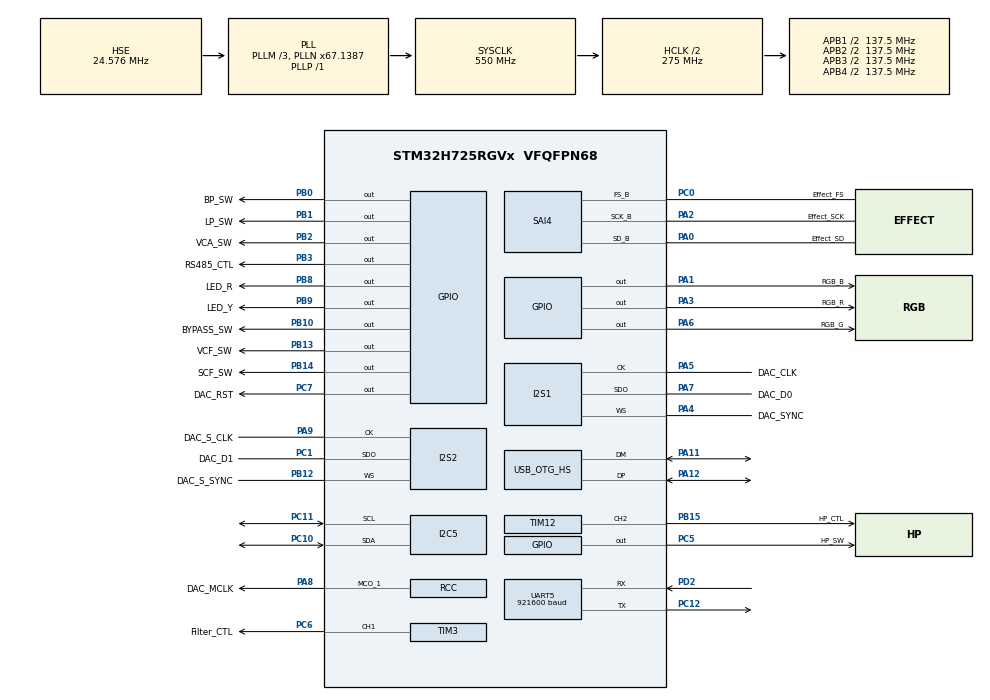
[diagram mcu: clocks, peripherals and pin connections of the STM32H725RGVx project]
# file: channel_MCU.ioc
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CORTEX_M7.default_mode_Activation=1
Dma.Request0=SPI1_TX
Dma.Request1=SPI2_TX
Dma.SPI1_TX.0.Direction=DMA_MEMORY_TO_PERIPH
Dma.SPI1_TX.0.EventEnable=DISABLE
Dma.SPI1_TX.0.FIFOMode=DMA_FIFOMODE_DISABLE
Dma.SPI1_TX.0.Instance=DMA1_Stream0
Dma.SPI1_TX.0.MemDataAlignment=DMA_MDATAALIGN_WORD
Dma.SPI1_TX.0.MemInc=DMA_MINC_ENABLE
Dma.SPI1_TX.0.Mode=DMA_CIRCULAR
Dma.SPI1_TX.0.PeriphDataAlignment=DMA_PDATAALIGN_WORD
Dma.SPI1_TX.0.PeriphInc=DMA_PINC_DISABLE
Dma.SPI1_TX.0.Polarity=HAL_DMAMUX_REQ_GEN_RISING
Dma.SPI1_TX.0.Priority=DMA_PRIORITY_LOW
Dma.SPI1_TX.0.RequestNumber=1
Dma.SPI1_TX.0.SignalID=NONE
Dma.SPI1_TX.0.SyncEnable=DISABLE
Dma.SPI1_TX.0.SyncPolarity=HAL_DMAMUX_SYNC_NO_EVENT
Dma.SPI1_TX.0.SyncRequestNumber=1
Dma.SPI1_TX.0.SyncSignalID=NONE
Dma.SPI2_TX.1.Direction=DMA_MEMORY_TO_PERIPH
Dma.SPI2_TX.1.EventEnable=DISABLE
Dma.SPI2_TX.1.FIFOMode=DMA_FIFOMODE_DISABLE
Dma.SPI2_TX.1.Instance=DMA1_Stream1
Dma.SPI2_TX.1.MemDataAlignment=DMA_MDATAALIGN_WORD
Dma.SPI2_TX.1.MemInc=DMA_MINC_ENABLE
Dma.SPI2_TX.1.Mode=DMA_CIRCULAR
Dma.SPI2_TX.1.PeriphDataAlignment=DMA_PDATAALIGN_WORD
Dma.SPI2_TX.1.PeriphInc=DMA_PINC_DISABLE
Dma.SPI2_TX.1.Polarity=HAL_DMAMUX_REQ_GEN_RISING
Dma.SPI2_TX.1.Priority=DMA_PRIORITY_LOW
Dma.SPI2_TX.1.RequestNumber=1
Dma.SPI2_TX.1.SignalID=NONE
Dma.SPI2_TX.1.SyncEnable=DISABLE
Dma.SPI2_TX.1.SyncPolarity=HAL_DMAMUX_SYNC_NO_EVENT
Dma.SPI2_TX.1.SyncRequestNumber=1
Dma.SPI2_TX.1.SyncSignalID=NONE
I2C5.Timing=0x60404E72
I2S1.AudioFreq=I2S_AUDIOFREQ_96K
I2S1.DataFormat=I2S_DATAFORMAT_32B
I2S1.ErrorAudioFreq=0.0 %
I2S1.Instance=SPI$Index
I2S1.RealAudioFreq=96.0 KHz
I2S2.AudioFreq=I2S_AUDIOFREQ_96K
I2S2.DataFormat=I2S_DATAFORMAT_32B
I2S2.ErrorAudioFreq=0.0 %
I2S2.Instance=SPI$Index
I2S2.RealAudioFreq=96.0 KHz
Mcu.Family=STM32H7
Mcu.Name=STM32H725RGVx
Mcu.Package=VFQFPN68
NVIC.DMA1_Stream0_IRQn=true\:0\:0\:false\:false\:true\:false\:true\:true
NVIC.DMA1_Stream1_IRQn=true\:0\:0\:false\:false\:true\:false\:true\:true
NVIC.OTG_HS_IRQn=true\:0\:0\:false\:false\:true\:true\:true\:true
NVIC.PriorityGroup=NVIC_PRIORITYGROUP_4
PA0.GPIO_Label=Effect_SD
PA0.Mode=SAI_B_AsyncSlave
PA0.Signal=SAI4_SD_B
PA1.GPIO_Label=RGB_B
PA1.Signal=GPIO_Output
PA11.Mode=Device_Only_FS
PA11.Signal=USB_OTG_HS_DM
PA12.Mode=Device_Only_FS
PA12.Signal=USB_OTG_HS_DP
PA2.GPIO_Label=Effect_SCK
PA2.Mode=SAI_B_AsyncSlave
PA2.Signal=SAI4_SCK_B
PA3.GPIO_Label=RGB_R
PA3.Signal=GPIO_Output
PA4.GPIO_Label=DAC_SYNC
PA4.GPIO_Speed=GPIO_SPEED_FREQ_HIGH
PA4.Mode=Half_Duplex_Master_Tx
PA4.Signal=I2S1_WS
PA5.GPIO_Label=DAC_CLK
PA5.GPIO_Speed=GPIO_SPEED_FREQ_HIGH
PA5.Mode=Half_Duplex_Master_Tx
PA5.Signal=I2S1_CK
PA6.GPIO_Label=RGB_G
PA6.Signal=GPIO_Output
PA7.GPIO_Label=DAC_D0
PA7.GPIO_Speed=GPIO_SPEED_FREQ_HIGH
PA7.Mode=Half_Duplex_Master_Tx
PA7.Signal=I2S1_SDO
PA8.GPIO_Label=DAC_MCLK
PA8.GPIO_Speed=GPIO_SPEED_FREQ_VERY_HIGH
PA8.Mode=Clock-out-1
PA8.Signal=RCC_MCO_1
PA9.GPIO_Label=DAC_S_CLK
PA9.Mode=Half_Duplex_Slave_Tx
PA9.Signal=I2S2_CK
PB0.GPIO_Label=BP_SW
PB0.Signal=GPIO_Output
PB1.GPIO_Label=LP_SW
PB1.Signal=GPIO_Output
PB10.GPIO_Label=BYPASS_SW
PB10.Signal=GPIO_Output
PB12.GPIO_Label=DAC_S_SYNC
PB12.Mode=Half_Duplex_Slave_Tx
PB12.Signal=I2S2_WS
PB13.GPIO_Label=VCF_SW
PB13.Signal=GPIO_Output
PB14.GPIO_Label=SCF_SW
PB14.Signal=GPIO_Output
PB15.GPIO_Label=HP_CTL
PB15.Signal=S_TIM12_CH2
PB2.GPIO_Label=VCA_SW
PB2.Signal=GPIO_Output
PB3(JTDO/TRACESWO).GPIO_Label=RS485_CTL
PB3(JTDO/TRACESWO).Signal=GPIO_Output
PB8.GPIO_Label=LED_R
PB8.Signal=GPIO_Output
PB9.GPIO_Label=LED_Y
PB9.Signal=GPIO_Output
PC0.GPIO_Label=Effect_FS
PC0.Mode=SAI_B_AsyncSlave
PC0.Signal=SAI4_FS_B
PC1.GPIO_Label=DAC_D1
PC1.GPIO_Speed=GPIO_SPEED_FREQ_HIGH
PC1.Mode=Half_Duplex_Slave_Tx
PC1.Signal=I2S2_SDO
PC10.Mode=I2C
PC10.Signal=I2C5_SDA
PC11.Mode=I2C
PC11.Signal=I2C5_SCL
PC12.Mode=Asynchronous
PC12.Signal=UART5_TX
PC5.GPIO_Label=HP_SW
PC5.Signal=GPIO_Output
PC6.GPIO_Label=Filter_CTL
PC6.Signal=S_TIM3_CH1
PC7.GPIO_Label=DAC_RST
PC7.Signal=GPIO_Output
PD2.Mode=Asynchronous
PD2.Signal=UART5_RX
PH0-OSC_IN.Mode=HSE-External-Clock-Source
PH0-OSC_IN.Signal=RCC_OSC_IN
ProjectManager.HeapSize=0x200
ProjectManager.StackSize=0x400
ProjectManager.TargetToolchain=CMake
RCC.ADCFreq_Value=49920000
RCC.APB1Freq_Value=137500000
RCC.APB2Freq_Value=137500000
RCC.APB3Freq_Value=137500000
RCC.APB4Freq_Value=137500000
RCC.CKPERSourceSelection=RCC_CLKPSOURCE_HSE
RCC.CortexFreq_Value=550000000
RCC.D1PPRE=RCC_APB3_DIV2
RCC.D2PPRE1=RCC_APB1_DIV2
RCC.D2PPRE2=RCC_APB2_DIV2
RCC.D3PPRE=RCC_APB4_DIV2
RCC.DIVM1=3
RCC.DIVM2=4
RCC.DIVM3=4
RCC.DIVN1=67
RCC.DIVN2=130
RCC.DIVN3=125
RCC.DIVP1=1
RCC.DIVP2=16
RCC.DIVP3=16
RCC.DIVQ1=10
RCC.DIVQ2=8
RCC.DIVQ3=8
RCC.DIVR2=4
RCC.DIVR3=8
RCC.EXTERNAL_CLOCK_VALUE=24576000
RCC.HCLKFreq_Value=275000000
RCC.HPRE=RCC_HCLK_DIV2
RCC.HSE_VALUE=24576000
RCC.PLL2FRACN=0
RCC.PLL3FRACN=0
RCC.PLLFRACN=1136
RCC.PLLSourceVirtual=RCC_PLLSOURCE_HSE
RCC.RCC_MCO1Source=RCC_MCO1SOURCE_HSE
RCC.SAI4BCLockSelection=RCC_SAI4BCLKSOURCE_CLKP
RCC.SPI123CLockSelection=RCC_SPI123CLKSOURCE_CLKP
RCC.SYSCLKFreq_VALUE=550000000
RCC.SYSCLKSource=RCC_SYSCLKSOURCE_PLLCLK
RCC.USBCLockSelection=RCC_USBCLKSOURCE_HSI48
RCC.USBFreq_Value=48000000
SAI4.AudioMode-SAI_B_AsyncSlave=SAI_MODESLAVE_TX
SAI4.Instance-SAI_B_AsyncSlave=SAI$Index_Block_B
SAI4.VirtualMode-SAI_B_AsyncSlave=VM_SLAVE
SH.S_TIM12_CH2.0=TIM12_CH2,PWM Generation2 CH2
SH.S_TIM3_CH1.0=TIM3_CH1,PWM Generation1 CH1
TIM12.Channel-PWM\ Generation2\ CH2=TIM_CHANNEL_2
TIM3.Channel-PWM\ Generation1\ CH1=TIM_CHANNEL_1
UART5.BaudRate=921600
USB_OTG_HS.VirtualMode=Device_Only_FS
VP_MEMORYMAP_VS_MEMORYMAP.Mode=CurAppReg
board=custom

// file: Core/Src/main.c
/* USER CODE BEGIN Header */
/**
 ******************************************************************************
 * @file           : main.c
 * @brief          : Main program body
 ******************************************************************************
 * @attention
 *
 * Copyright (c) 2026 STMicroelectronics.
 * All rights reserved.
 *
 * This software is licensed under terms that can be found in the LICENSE file
 * in the root directory of this software component.
 * If no LICENSE file comes with this software, it is provided AS-IS.
 *
 ******************************************************************************
 */
/* USER CODE END Header */
#include "main.h"
#include "dma.h"
#include "i2c.h"
#include "i2s.h"
#include "sai.h"
#include "tim.h"
#include "usart.h"
#include "usb_otg.h"
#include "gpio.h"

/* USER CODE BEGIN Includes */
#include "cs4304.h"
#include "tim.h"
#include "usart.h"
#include "audio_bridge.h"
#include "channel_console.h"
#include "usb_app.h"
/* USER CODE END Includes */

/* USER CODE BEGIN PV */

/* CS4304 DAC handle — owned here; bound into bridge + console after Init. */
CS4304_HandleTypeDef hcs4304;

/* USER CODE END PV */

void SystemClock_Config(void);
void PeriphCommonClock_Config(void);
static void MPU_Config(void);

/* USER CODE BEGIN 0 */

/* Console / RS485 / LED chaser live in channel_console.c */

/* USER CODE END 0 */

int main(void)
{

  /* USER CODE BEGIN 1 */
  /* CubeMX never emitted this: the core ran at 558 MHz fetching every
   * instruction from flash at LATENCY_3. Before I2S1 fills moved to the
   * main loop, NoteBank in the DMA callback overran its half-buffer above
   * ~13 voices and starved RS485 (stuck notes). I-cache only: D-cache needs
   * non-cacheable MPU regions for DMA buffers; this MPU_Config does not. */
  SCB_EnableICache();
  /* USER CODE END 1 */

  /* MPU Configuration--------------------------------------------------------*/
  MPU_Config();

  /* MCU Configuration--------------------------------------------------------*/

  /* Reset of all peripherals, Initializes the Flash interface and the Systick. */
  HAL_Init();

  /* Configure the system clock */
  SystemClock_Config();

  /* Configure the peripherals common clocks */
  PeriphCommonClock_Config();

  /* Initialize all configured peripherals */
  MX_GPIO_Init();
  MX_DMA_Init();
  MX_I2C5_Init();
  MX_SAI4_Init();
  MX_TIM3_Init();
  MX_TIM12_Init();
  MX_UART5_Init();
  MX_I2S1_Init();
  MX_I2S2_Init();
  MX_USB_OTG_HS_PCD_Init();
  /* USER CODE BEGIN 2 */

  /* USB is owned by TinyUSB (UAC2 speaker + CDC console) — see USB_APP/.
   * ST's MX_USB_DEVICE_Init() is gone with the USB_DEVICE middleware;
   * USB_App_Init() does the clocks, PHY power and NVIC itself.
   * Kept inside USER CODE so CubeMX regeneration preserves it. */
  USB_App_Init();

  /* --- Power-on LED startup sequence: flash all 5 LEDs one by one --- */
  {
    const GPIO_TypeDef *led_ports[] = {LED_R_GPIO_Port, LED_Y_GPIO_Port,
                                       RGB_R_GPIO_Port, RGB_G_GPIO_Port,
                                       RGB_B_GPIO_Port};
    const uint16_t led_pins[] = {LED_R_Pin, LED_Y_Pin, RGB_R_Pin, RGB_G_Pin,
                                 RGB_B_Pin};
    const uint8_t num_leds = 5;

    for (uint8_t i = 0; i < num_leds; i++)
    {
      HAL_GPIO_WritePin((GPIO_TypeDef *)led_ports[i], led_pins[i],
                        GPIO_PIN_SET);
      HAL_Delay(150);
      HAL_GPIO_WritePin((GPIO_TypeDef *)led_ports[i], led_pins[i],
                        GPIO_PIN_RESET);
    }
  }

  /* Initialize CS4304S DAC via I2C5.
   * CONFIG5 0R to GND -> I2C address 0x60 (DS1388F1 Table 4-17); the driver
   * falls back to a bus scan if that address does not ACK.
   * NON-FATAL: the channel-1 USB playback test must run even if the DAC
   * I2C link is down (LED_R stays on solid as an error indicator). */
  hcs4304.hi2c = &hi2c5;
  hcs4304.DevAddr = CS4304_I2C_ADDR_C5_GND_0R;

  if (CS4304_Init(&hcs4304) != HAL_OK)
  {
    HAL_GPIO_WritePin(LED_R_GPIO_Port, LED_R_Pin, GPIO_PIN_SET);
  }

  /* Only CH1 (USB audio) follows the host volume slider; CH2-CH4 (test
   * tones) stay at full scale (0 dB + their Trim, if any). */
  hcs4304.MasterMask = 0x01;
  CS4304_SetVolume(&hcs4304, hcs4304.Volume); /* re-apply with the mask */

  /* Bind DAC handle for UAC volume/mute (Audio_Bridge_SetVolume/SetMute). */
  Audio_Bridge_SetDacHandle(&hcs4304);
  ChannelConsole_SetDacHandle(&hcs4304);

  /* DAC is ready. USB audio will start when host begins streaming. */
  /* I2S DMA is started in AUDIO_Init_HS() when USB audio is activated. */

  /* Start I2S DMA for standalone playback */
  Audio_StartPlayback();

  /* Default DC level 0 (true 0 V via dczero calibration) for CH2-CH4 */
  Audio_SetDCLevel(2, 0);
  Audio_SetDCLevel(3, 0);
  Audio_SetDCLevel(4, 0);

  /* MX_TIM12_Init() reconfigured PB15 as TIM12_CH2 AF — override it back
   * to plain GPIO output so hp_ctl stays a GPIO. */
  {
    GPIO_InitTypeDef gi = {0};
    gi.Pin = HP_CTL_Pin;
    gi.Mode = GPIO_MODE_OUTPUT_PP;
    gi.Pull = GPIO_NOPULL;
    gi.Speed = GPIO_SPEED_FREQ_LOW;
    HAL_GPIO_Init(HP_CTL_GPIO_Port, &gi);
    HAL_GPIO_WritePin(HP_CTL_GPIO_Port, HP_CTL_Pin,
                      GPIO_PIN_RESET); /* LOW = hp_ctl off (filter mode) */
  }

  /* filter_ctl (TIM3_CH1, PC6): keep LOW at boot. */

  /* RS485 idle Hi-Z, switch defaults, bypass/gain session, ready banner. */
  ChannelConsole_Init();

  /* USER CODE END 2 */

  /* Infinite loop */
  while (1)
  {

    /* USER CODE BEGIN 3 */

    Audio_I2S1_Poll();     /* I2S1 half refill (flagged by DMA IRQ) — first */
    ChannelConsole_Poll(); /* RS485 console + LED chaser */
    USB_App_Task();        /* TinyUSB stack + CDC console */
    Audio_CpuLoad_Poll();  /* queue-mode NoteBank producer (no-op otherwise) */
    // HAL_Delay(10);
  }
  /* USER CODE END 3 */
}

void SystemClock_Config(void)
{
  RCC_OscInitTypeDef RCC_OscInitStruct = {0};
  RCC_ClkInitTypeDef RCC_ClkInitStruct = {0};

  /** Supply configuration update enable
   */
  HAL_PWREx_ConfigSupply(PWR_DIRECT_SMPS_SUPPLY);

  /** Configure the main internal regulator output voltage
   */
  __HAL_PWR_VOLTAGESCALING_CONFIG(PWR_REGULATOR_VOLTAGE_SCALE0);

  while (!__HAL_PWR_GET_FLAG(PWR_FLAG_VOSRDY))
  {
  }

  /** Initializes the RCC Oscillators according to the specified parameters
   * in the RCC_OscInitTypeDef structure.
   */
  RCC_OscInitStruct.OscillatorType = RCC_OSCILLATORTYPE_HSI48 | RCC_OSCILLATORTYPE_HSE;
  RCC_OscInitStruct.HSEState = RCC_HSE_BYPASS;
  RCC_OscInitStruct.HSI48State = RCC_HSI48_ON;
  RCC_OscInitStruct.PLL.PLLState = RCC_PLL_ON;
  RCC_OscInitStruct.PLL.PLLSource = RCC_PLLSOURCE_HSE;
  RCC_OscInitStruct.PLL.PLLM = 3;
  RCC_OscInitStruct.PLL.PLLN = 67;
  RCC_OscInitStruct.PLL.PLLP = 1;
  RCC_OscInitStruct.PLL.PLLQ = 10;
  RCC_OscInitStruct.PLL.PLLR = 2;
  RCC_OscInitStruct.PLL.PLLRGE = RCC_PLL1VCIRANGE_3;
  RCC_OscInitStruct.PLL.PLLVCOSEL = RCC_PLL1VCOWIDE;
  RCC_OscInitStruct.PLL.PLLFRACN = 1136;
  if (HAL_RCC_OscConfig(&RCC_OscInitStruct) != HAL_OK)
  {
    Error_Handler();
  }

  /** Initializes the CPU, AHB and APB buses clocks
   */
  RCC_ClkInitStruct.ClockType = RCC_CLOCKTYPE_HCLK | RCC_CLOCKTYPE_SYSCLK | RCC_CLOCKTYPE_PCLK1 | RCC_CLOCKTYPE_PCLK2 | RCC_CLOCKTYPE_D3PCLK1 | RCC_CLOCKTYPE_D1PCLK1;
  RCC_ClkInitStruct.SYSCLKSource = RCC_SYSCLKSOURCE_PLLCLK;
  RCC_ClkInitStruct.SYSCLKDivider = RCC_SYSCLK_DIV1;
  RCC_ClkInitStruct.AHBCLKDivider = RCC_HCLK_DIV2;
  RCC_ClkInitStruct.APB3CLKDivider = RCC_APB3_DIV2;
  RCC_ClkInitStruct.APB1CLKDivider = RCC_APB1_DIV2;
  RCC_ClkInitStruct.APB2CLKDivider = RCC_APB2_DIV2;
  RCC_ClkInitStruct.APB4CLKDivider = RCC_APB4_DIV2;

  if (HAL_RCC_ClockConfig(&RCC_ClkInitStruct, FLASH_LATENCY_3) != HAL_OK)
  {
    Error_Handler();
  }
  HAL_RCC_MCOConfig(RCC_MCO1, RCC_MCO1SOURCE_HSE, RCC_MCODIV_1);
}

void PeriphCommonClock_Config(void)
{
  RCC_PeriphCLKInitTypeDef PeriphClkInitStruct = {0};

  /** Initializes the peripherals clock
   */
  PeriphClkInitStruct.PeriphClockSelection = RCC_PERIPHCLK_CKPER;
  PeriphClkInitStruct.CkperClockSelection = RCC_CLKPSOURCE_HSE;
  if (HAL_RCCEx_PeriphCLKConfig(&PeriphClkInitStruct) != HAL_OK)
  {
    Error_Handler();
  }
}

/* MPU Configuration */

void MPU_Config(void)
{
  MPU_Region_InitTypeDef MPU_InitStruct = {0};

  /* Disables the MPU */
  HAL_MPU_Disable();

  /** Initializes and configures the Region and the memory to be protected
   */
  MPU_InitStruct.Enable = MPU_REGION_ENABLE;
  MPU_InitStruct.Number = MPU_REGION_NUMBER0;
  MPU_InitStruct.BaseAddress = 0x0;
  MPU_InitStruct.Size = MPU_REGION_SIZE_4GB;
  MPU_InitStruct.SubRegionDisable = 0x87;
  MPU_InitStruct.TypeExtField = MPU_TEX_LEVEL0;
  MPU_InitStruct.AccessPermission = MPU_REGION_NO_ACCESS;
  MPU_InitStruct.DisableExec = MPU_INSTRUCTION_ACCESS_DISABLE;
  MPU_InitStruct.IsShareable = MPU_ACCESS_SHAREABLE;
  MPU_InitStruct.IsCacheable = MPU_ACCESS_NOT_CACHEABLE;
  MPU_InitStruct.IsBufferable = MPU_ACCESS_NOT_BUFFERABLE;

  HAL_MPU_ConfigRegion(&MPU_InitStruct);
  /* Enables the MPU */
  HAL_MPU_Enable(MPU_PRIVILEGED_DEFAULT);
}

void Error_Handler(void)
{
  __disable_irq();
  while (1)
  {
  }
}
#ifdef USE_FULL_ASSERT
/**
 * @brief  Reports the name of the source file and the source line number
 *         where the assert_param error has occurred.
 * @param  file: pointer to the source file name
 * @param  line: assert_param error line source number
 * @retval None
 */
void assert_failed(uint8_t *file, uint32_t line)
{
  /* USER CODE BEGIN 6 */
  /* User can add his own implementation to report the file name and line
     number, ex: printf("Wrong parameters value: file %s on line %d\r\n", file,
     line) */
  /* USER CODE END 6 */
}
#endif /* USE_FULL_ASSERT */
